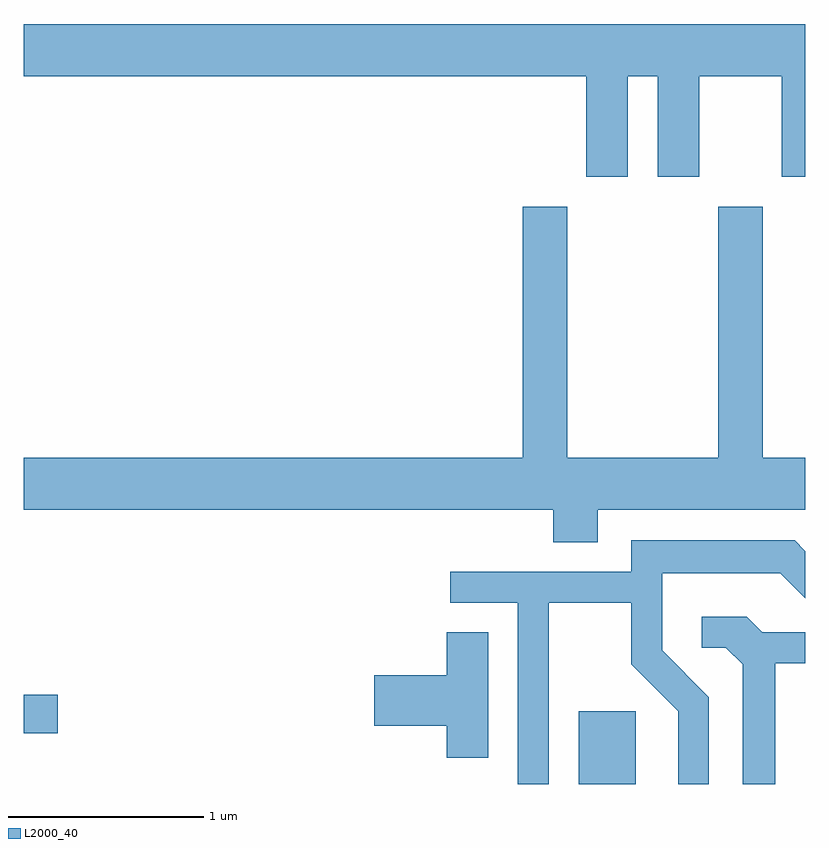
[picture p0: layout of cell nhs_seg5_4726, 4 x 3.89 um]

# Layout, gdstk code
import gdstk
lib = gdstk.Library(unit=1e-6, precision=1e-09)
def R(c, l, rs):  # rectangles x0, y0, x1, y1
    for r in rs: c.add(gdstk.rectangle(r[:2], r[2:], *l))
def P(c, l, *ps):  # polygons
    for p in ps: c.add(gdstk.Polygon(p, *l))
L2000_40 = (2000, 40)

nhs_seg5_4726 = lib.new_cell('nhs_seg5_4726')
R(nhs_seg5_4726, L2000_40, [(328.451,1442.072,328.744,1442.444), (325.611,1442.331,325.784,1442.529)])
P(nhs_seg5_4726, L2000_40, [(328.704,1445.696),(328.856,1445.696),(328.856,1445.181),(329.069,1445.181),(329.069,1445.696),(329.491,1445.696),(329.491,1445.181),(329.611,1445.181),(329.611,1445.964),(325.611,1445.964),(325.611,1445.696),(328.491,1445.696),(328.491,1445.181),(328.704,1445.181)],
  [(328.321,1443.311),(328.549,1443.311),(328.549,1443.476),(329.611,1443.476),(329.611,1443.744),(329.394,1443.744),(329.394,1445.029),(329.166,1445.029),(329.166,1443.744),(328.394,1443.744),(328.394,1445.029),(328.166,1445.029),(328.166,1443.744),(325.611,1443.744),(325.611,1443.476),(328.321,1443.476)],
  [(328.299,1443.001),(328.721,1443.001),(328.721,1442.684),(328.961,1442.444),(328.961,1442.072),(329.119,1442.072),(329.119,1442.517),(328.879,1442.757),(328.879,1443.151),(329.484,1443.151),(329.611,1443.024),(329.611,1443.265),(329.557,1443.319),(328.721,1443.319),(328.721,1443.159),(327.793,1443.159),(327.793,1443.001),(328.141,1443.001),(328.141,1442.072),(328.299,1442.072)],
  [(329.459,1442.691),(329.611,1442.691),(329.611,1442.849),(329.392,1442.849),(329.312,1442.929),(329.083,1442.929),(329.083,1442.771),(329.204,1442.771),(329.291,1442.684),(329.291,1442.072),(329.459,1442.072)],
  [(327.989,1442.849),(327.776,1442.849),(327.776,1442.629),(327.406,1442.629),(327.406,1442.371),(327.776,1442.371),(327.776,1442.206),(327.989,1442.206)])

lib.write_gds('nhs_seg5_4726.gds')
